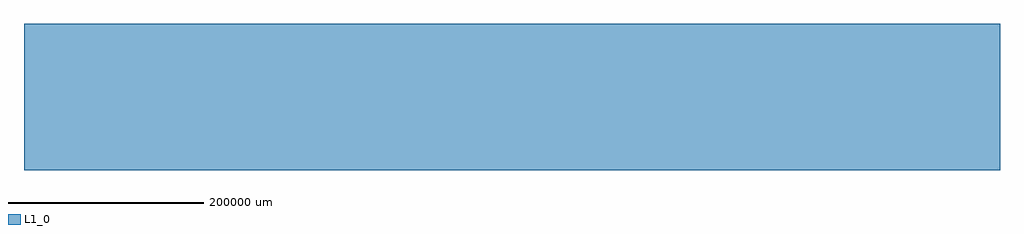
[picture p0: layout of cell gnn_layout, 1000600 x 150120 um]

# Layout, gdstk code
import gdstk
lib = gdstk.Library(unit=1e-6, precision=1e-09)
def R(c, l, rs):  # rectangles x0, y0, x1, y1
    for r in rs: c.add(gdstk.rectangle(r[:2], r[2:], *l))
L1_0 = (1, 0)

rectangle_gdsfactorypco_ = lib.new_cell('rectangle_gdsfactorypco_f73fc4c0')
R(rectangle_gdsfactorypco_, L1_0, [(0,0,420000,150000)])

c_rectangle_gdsfactorypco_ = lib.new_cell('rectangle_gdsfactorypco_62e27572')
R(c_rectangle_gdsfactorypco_, L1_0, [(0,0,1000000,150000)])

c_rectangle_gdsfactorypco__ = lib.new_cell('rectangle_gdsfactorypco_126bb9ad')
R(c_rectangle_gdsfactorypco__, L1_0, [(0,0,650000,150000)])

gnn_layout = lib.new_cell('gnn_layout')
gnn_layout.add(gdstk.Reference(rectangle_gdsfactorypco_, (0,0)))
gnn_layout.add(gdstk.Reference(rectangle_gdsfactorypco_, (0,40)))
gnn_layout.add(gdstk.Reference(rectangle_gdsfactorypco_, (0,80)))
gnn_layout.add(gdstk.Reference(rectangle_gdsfactorypco_, (0,120)))
gnn_layout.add(gdstk.Reference(rectangle_gdsfactorypco_, (100,0)))
gnn_layout.add(gdstk.Reference(rectangle_gdsfactorypco_, (100,40)))
gnn_layout.add(gdstk.Reference(rectangle_gdsfactorypco_, (100,80)))
gnn_layout.add(gdstk.Reference(rectangle_gdsfactorypco_, (100,120)))
gnn_layout.add(gdstk.Reference(rectangle_gdsfactorypco_, (200,0)))
gnn_layout.add(gdstk.Reference(rectangle_gdsfactorypco_, (200,40)))
gnn_layout.add(gdstk.Reference(rectangle_gdsfactorypco_, (200,80)))
gnn_layout.add(gdstk.Reference(rectangle_gdsfactorypco_, (200,120)))
gnn_layout.add(gdstk.Reference(rectangle_gdsfactorypco_, (300,0)))
gnn_layout.add(gdstk.Reference(rectangle_gdsfactorypco_, (300,40)))
gnn_layout.add(gdstk.Reference(c_rectangle_gdsfactorypco_, (300,80)))
gnn_layout.add(gdstk.Reference(rectangle_gdsfactorypco_, (300,120)))
gnn_layout.add(gdstk.Reference(rectangle_gdsfactorypco_, (400,0)))
gnn_layout.add(gdstk.Reference(rectangle_gdsfactorypco_, (400,40)))
gnn_layout.add(gdstk.Reference(rectangle_gdsfactorypco_, (400,80)))
gnn_layout.add(gdstk.Reference(rectangle_gdsfactorypco_, (400,120)))
gnn_layout.add(gdstk.Reference(c_rectangle_gdsfactorypco__, (500,0)))
gnn_layout.add(gdstk.Reference(rectangle_gdsfactorypco_, (500,40)))
gnn_layout.add(gdstk.Reference(rectangle_gdsfactorypco_, (500,80)))
gnn_layout.add(gdstk.Reference(rectangle_gdsfactorypco_, (500,120)))
gnn_layout.add(gdstk.Reference(c_rectangle_gdsfactorypco__, (600,0)))
gnn_layout.add(gdstk.Reference(c_rectangle_gdsfactorypco_, (600,40)))
gnn_layout.add(gdstk.Reference(rectangle_gdsfactorypco_, (600,80)))
gnn_layout.add(gdstk.Reference(rectangle_gdsfactorypco_, (600,120)))

lib.write_gds('gnn_layout.gds')
